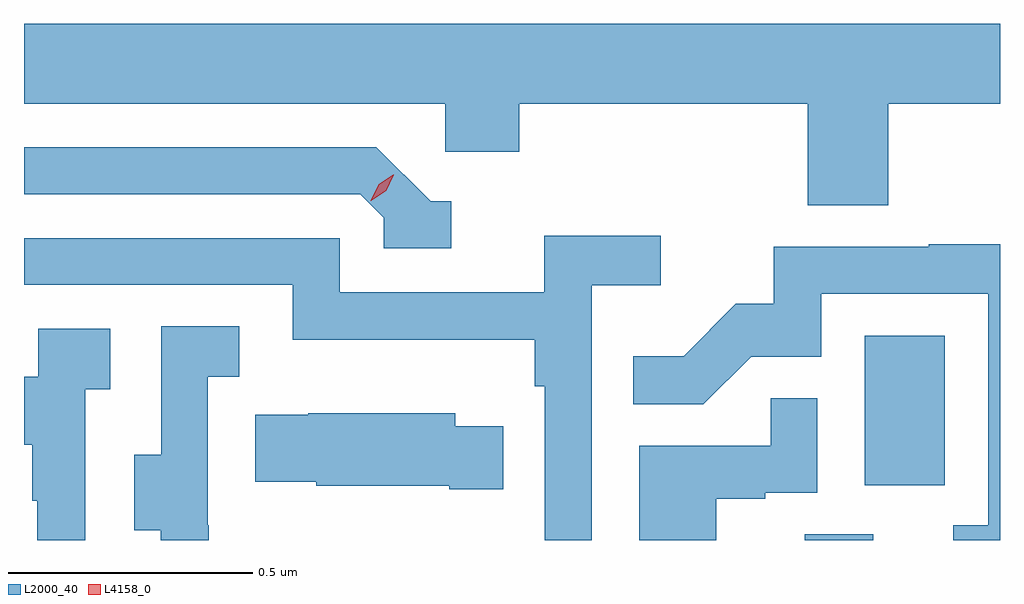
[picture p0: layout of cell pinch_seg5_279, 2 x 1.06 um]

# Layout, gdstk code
import gdstk
lib = gdstk.Library(unit=1e-6, precision=1e-09)
def R(c, l, rs):  # rectangles x0, y0, x1, y1
    for r in rs: c.add(gdstk.rectangle(r[:2], r[2:], *l))
def P(c, l, *ps):  # polygons
    for p in ps: c.add(gdstk.Polygon(p, *l))
L2000_40 = (2000, 40)
L4158_0 = (4158, 0)

pinch_seg5_279 = lib.new_cell('pinch_seg5_279')
R(pinch_seg5_279, L2000_40, [(890.957,905.15,891.097,905.162), (891.08,905.262,891.244,905.569)])
P(pinch_seg5_279, L2000_40, [(891.128,906.044),(891.357,906.044),(891.357,906.208),(889.357,906.208),(889.357,906.044),(890.22,906.044),(890.22,905.946),(890.372,905.946),(890.372,906.044),(890.963,906.044),(890.963,905.836),(891.128,905.836)],
  [(890.233,905.844),(890.19,905.844),(890.079,905.955),(889.357,905.955),(889.357,905.859),(890.046,905.859),(890.094,905.811),(890.094,905.748),(890.233,905.748)],
  [(890.52,905.672),(890.662,905.672),(890.662,905.774),(890.423,905.774),(890.423,905.658),(890.004,905.658),(890.004,905.769),(889.357,905.769),(889.357,905.673),(889.908,905.673),(889.908,905.561),(890.404,905.561),(890.404,905.465),(890.424,905.465),(890.424,905.15),(890.52,905.15)],
  [(891.357,905.756),(891.211,905.756),(891.211,905.751),(890.893,905.751),(890.893,905.634),(890.816,905.634),(890.709,905.527),(890.605,905.527),(890.605,905.428),(890.749,905.428),(890.847,905.526),(890.991,905.526),(890.991,905.655),(891.333,905.655),(891.333,905.181),(891.261,905.181),(891.261,905.15),(891.357,905.15)],
  [(889.736,905.181),(889.734,905.181),(889.734,905.485),(889.798,905.485),(889.798,905.588),(889.638,905.588),(889.638,905.325),(889.583,905.325),(889.583,905.17),(889.637,905.17),(889.637,905.15),(889.736,905.15)],
  [(889.482,905.459),(889.534,905.459),(889.534,905.583),(889.386,905.583),(889.386,905.485),(889.357,905.485),(889.357,905.345),(889.374,905.345),(889.374,905.231),(889.384,905.231),(889.384,905.15),(889.482,905.15)],
  [(890.776,905.235),(890.876,905.235),(890.876,905.247),(890.982,905.247),(890.982,905.441),(890.887,905.441),(890.887,905.343),(890.618,905.343),(890.618,905.15),(890.776,905.15)],
  [(890.339,905.383),(890.241,905.383),(890.241,905.41),(889.939,905.41),(889.939,905.407),(889.831,905.407),(889.831,905.27),(889.956,905.27),(889.956,905.261),(890.228,905.261),(890.228,905.254),(890.339,905.254)])
P(pinch_seg5_279, L4158_0, [(890.068,905.846),(890.068,905.847),(890.084,905.879),(890.114,905.899),(890.115,905.899),(890.115,905.899),(890.099,905.866),(890.069,905.846)])

lib.write_gds('pinch_seg5_279.gds')
